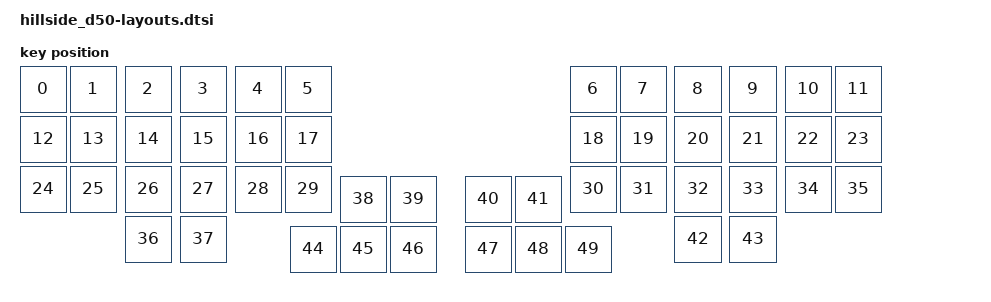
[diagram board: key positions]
#include <physical_layouts.dtsi>

/* Physical layout definition.

Referenced in the main dtsi file, where the kscan and transforms are defined.

Keys property is needed for Studio support.

Every physical layout needs a matrix transform, and optionally a kscan.

By convention,
kscan and transform are assigned to the physical layout in the file where the
    matrix transform and kscan are defined.
Except it seems when a key property is added, when it makes sense to
put it all together here.

*/

/ {
    physical_layout0: physical_layout_0 {
        compatible = "zmk,physical-layout";
        display-name = "Default Layout";
        kscan = <&kscan0>; // Label of the kscan node this layout uses
        transform = <&default_transform>; // Label of the matrix transform this layout uses
        keys  //                     w   h    x    y     rot    rx    ry
            = <&key_physical_attrs 100 100    0    0       0     0     0>
            , <&key_physical_attrs 100 100  100    0       0     0     0>
            , <&key_physical_attrs 100 100  210    0       0     0     0>
            , <&key_physical_attrs 100 100  320    0       0     0     0>
            , <&key_physical_attrs 100 100  430    0       0     0     0>
            , <&key_physical_attrs 100 100  530    0       0     0     0>
            , <&key_physical_attrs 100 100 1100    0       0     0     0>
            , <&key_physical_attrs 100 100 1200    0       0     0     0>
            , <&key_physical_attrs 100 100 1310    0       0     0     0>
            , <&key_physical_attrs 100 100 1420    0       0     0     0>
            , <&key_physical_attrs 100 100 1530    0       0     0     0>
            , <&key_physical_attrs 100 100 1630    0       0     0     0>


            , <&key_physical_attrs 100 100    0  100       0     0     0>
            , <&key_physical_attrs 100 100  100  100       0     0     0>
            , <&key_physical_attrs 100 100  210  100       0     0     0>
            , <&key_physical_attrs 100 100  320  100       0     0     0>
            , <&key_physical_attrs 100 100  430  100       0     0     0>
            , <&key_physical_attrs 100 100  530  100       0     0     0>
            , <&key_physical_attrs 100 100 1100  100       0     0     0>
            , <&key_physical_attrs 100 100 1200  100       0     0     0>
            , <&key_physical_attrs 100 100 1310  100       0     0     0>
            , <&key_physical_attrs 100 100 1420  100       0     0     0>
            , <&key_physical_attrs 100 100 1530  100       0     0     0>
            , <&key_physical_attrs 100 100 1630  100       0     0     0>


            , <&key_physical_attrs 100 100    0  200       0     0     0>
            , <&key_physical_attrs 100 100  100  200       0     0     0>
            , <&key_physical_attrs 100 100  210  200       0     0     0>
            , <&key_physical_attrs 100 100  320  200       0     0     0>
            , <&key_physical_attrs 100 100  430  200       0     0     0>
            , <&key_physical_attrs 100 100  530  200       0     0     0>

            , <&key_physical_attrs 100 100 1100  200       0     0     0>
            , <&key_physical_attrs 100 100 1200  200       0     0     0>
            , <&key_physical_attrs 100 100 1310  200       0     0     0>
            , <&key_physical_attrs 100 100 1420  200       0     0     0>
            , <&key_physical_attrs 100 100 1530  200       0     0     0>
            , <&key_physical_attrs 100 100 1630  200       0     0     0>


            , <&key_physical_attrs 100 100  210  300       0     0     0>
            , <&key_physical_attrs 100 100  320  300       0     0     0>

            , <&key_physical_attrs 100 100  640  220       0     0     0>
            , <&key_physical_attrs 100 100  740  220       0     0     0>

            , <&key_physical_attrs 100 100  890  220       0     0     0>
            , <&key_physical_attrs 100 100  990  220       0     0     0>

            , <&key_physical_attrs 100 100 1310  300       0     0     0>
            , <&key_physical_attrs 100 100 1420  300       0     0     0>

            , <&key_physical_attrs 100 100  540  320       0     0     0>
            , <&key_physical_attrs 100 100  640  320       0     0     0>
            , <&key_physical_attrs 100 100  740  320       0     0     0>

            , <&key_physical_attrs 100 100  890  320       0     0     0>
            , <&key_physical_attrs 100 100  990  320       0     0     0>
            , <&key_physical_attrs 100 100 1090  320       0     0     0>
            ;
    };
};
